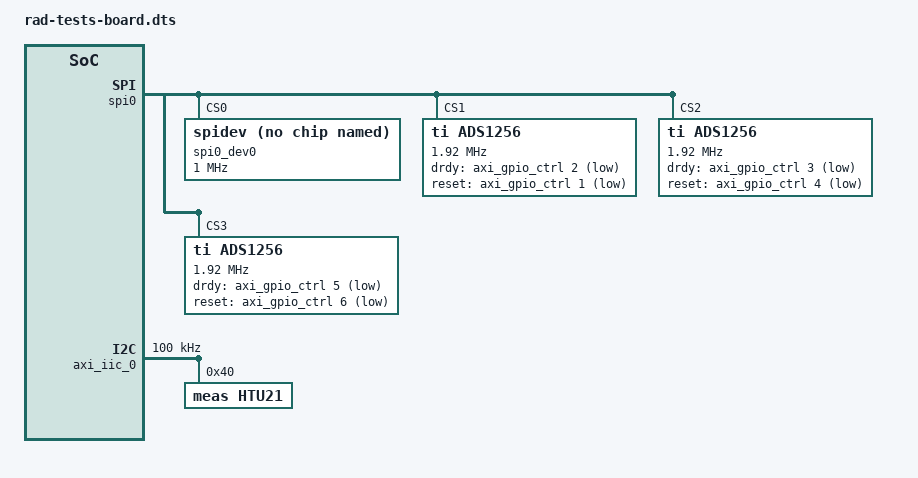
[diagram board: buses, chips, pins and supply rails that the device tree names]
/dts-v1/;
/plugin/;

&spi0 {
    status = "okay";
    is-decoded-cs = <1>;
        
    /* DAC81408 */
    spi0_dev0: spidev@0 {
        compatible = "rohm,dh2228fv";
        reg = <0>;
        spi-max-frequency = <1000000>;
        status = "okay";
    };

    /* ADS1256 #1 (voltage) */
    ads1256@1 {
        compatible = "ti,ads1256";
        reg = <1>;
        spi-max-frequency = <1920000>;
        ti,vref-mv = <2500>;
        ti,status = <0x06>;
        ti,pga = <0x00>;     /* PGA = 1 */
        ti,drate = <0x82>;   /* DRATE = 100SPS */
        drdy-gpios = <&axi_gpio_ctrl 2 1>; /* ctrl_pins[2] = DRDY2, JB2 */
        /* RESET signal is actually the PDWN signal in the board*/
        reset-gpios = <&axi_gpio_ctrl 1 1>; /* ctrl_pins[1] = PDWN2, JB1 */
        status = "okay";
    };
    /* ADS1256 #2 (current) */
    ads1256@2 {
        compatible = "ti,ads1256";
        reg = <2>;
        spi-max-frequency = <1920000>;
        ti,vref-mv = <2500>;
        ti,status = <0x06>;
        ti,pga = <0x06>;     /* PGA = 64 */
        ti,drate = <0x82>;   /* DRATE = 100SPS */
        drdy-gpios = <&axi_gpio_ctrl 3 1>; /* ctrl_pins[3] = DRDY3, JB7 */
        /* RESET signal is actually the PDWN signal in the board*/
        reset-gpios = <&axi_gpio_ctrl 4 1>; /* ctrl_pins[4] = PDWN3, JB8 */
        status = "okay";
    };
    /* ADS1256 #3 (current) */
    ads1256@3 {
        compatible = "ti,ads1256";
        reg = <3>;
        spi-max-frequency = <1920000>;
        ti,vref-mv = <2500>;
        ti,status = <0x06>;
        ti,pga = <0x06>;     /* PGA = 64 */
        ti,drate = <0x82>;   /* DRATE = 100SPS */
        drdy-gpios = <&axi_gpio_ctrl 5 1>; /* ctrl_pins[5] = DRDY4, JB9 */
        /* RESET signal is actually the PDWN signal in the board*/
        reset-gpios = <&axi_gpio_ctrl 6 1>; /* ctrl_pins[6] = PDWN4, JB10 */
        status = "okay";
  };
};

&axi_iic_0 {
    status = "okay";
    clock-frequency = <100000>;
    #address-cells = <1>;
    #size-cells = <0>;

    htu21@40 {
        compatible = "meas,htu21";
        reg = <0x40>;
        label = "htu21";
    };
};
